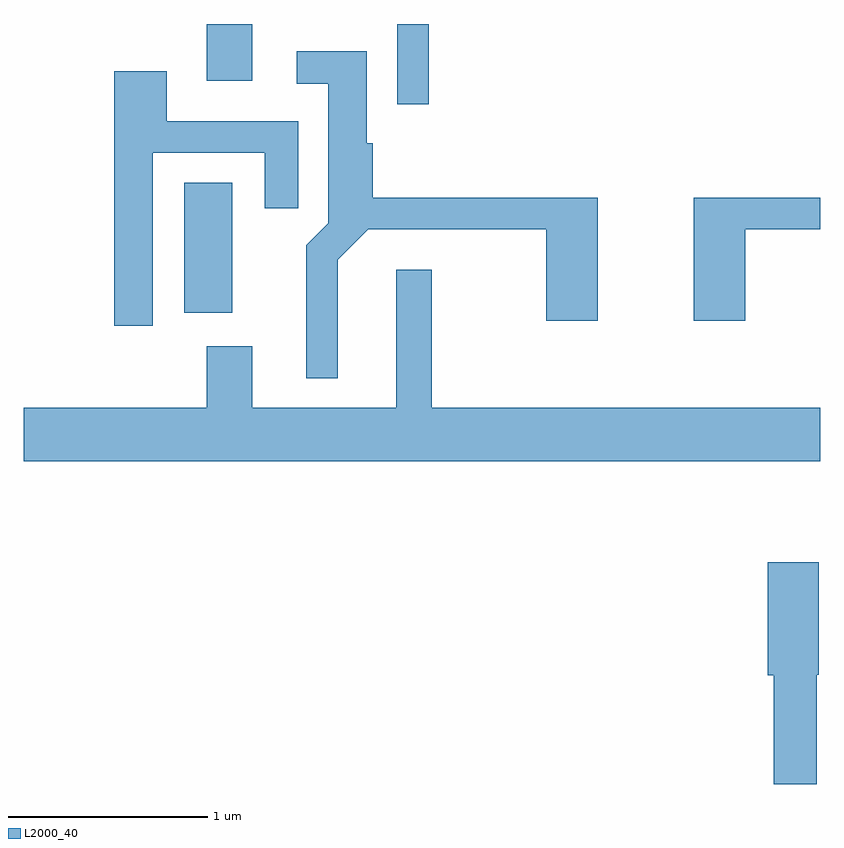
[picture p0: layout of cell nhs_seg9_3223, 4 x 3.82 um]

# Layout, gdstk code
import gdstk
lib = gdstk.Library(unit=1e-6, precision=1e-09)
def R(c, l, rs):  # rectangles x0, y0, x1, y1
    for r in rs: c.add(gdstk.rectangle(r[:2], r[2:], *l))
def P(c, l, *ps):  # polygons
    for p in ps: c.add(gdstk.Polygon(p, *l))
L2000_40 = (2000, 40)

nhs_seg9_3223 = lib.new_cell('nhs_seg9_3223')
R(nhs_seg9_3223, L2000_40, [(280.416,2016.981,280.659,2017.634), (281.486,2018.028,281.644,2018.432), (280.531,2018.146,280.759,2018.432)])
P(nhs_seg9_3223, L2000_40, [(281.189,2017.249),(281.342,2017.401),(282.236,2017.401),(282.236,2016.941),(282.494,2016.941),(282.494,2017.559),(281.364,2017.559),(281.364,2017.834),(281.334,2017.834),(281.334,2018.294),(280.983,2018.294),(280.983,2018.131),(281.141,2018.131),(281.141,2017.432),(281.031,2017.322),(281.031,2016.653),(281.189,2016.653)],
  [(280.259,2017.786),(280.821,2017.786),(280.821,2017.508),(280.989,2017.508),(280.989,2017.944),(280.329,2017.944),(280.329,2018.194),(280.066,2018.194),(280.066,2016.916),(280.259,2016.916)],
  [(283.234,2017.401),(283.611,2017.401),(283.611,2017.559),(282.976,2017.559),(282.976,2016.941),(283.234,2016.941)],
  [(283.611,2016.504),(281.659,2016.504),(281.659,2017.199),(281.481,2017.199),(281.481,2016.504),(280.759,2016.504),(280.759,2016.814),(280.531,2016.814),(280.531,2016.504),(279.611,2016.504),(279.611,2016.236),(283.611,2016.236)],
  [(283.594,2015.165),(283.604,2015.165),(283.604,2015.729),(283.346,2015.729),(283.346,2015.161),(283.376,2015.161),(283.376,2014.616),(283.594,2014.616)])

lib.write_gds('nhs_seg9_3223.gds')
